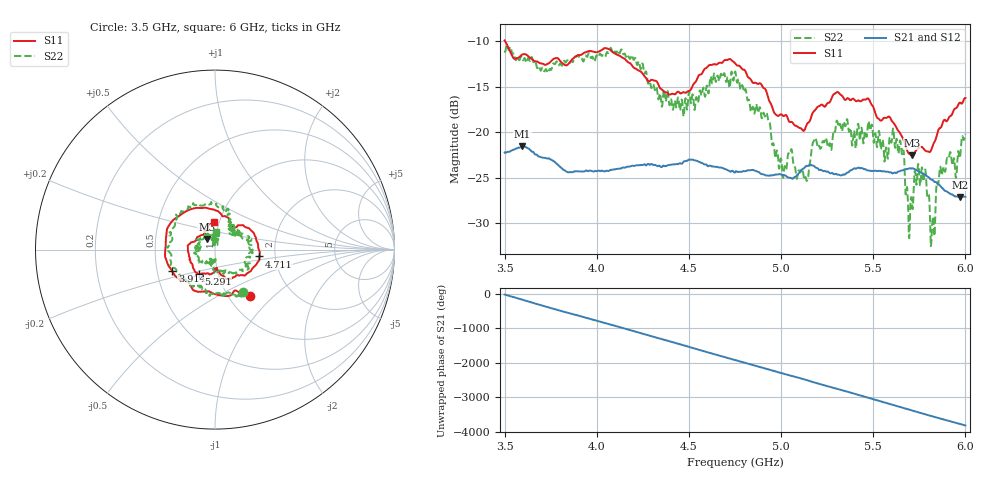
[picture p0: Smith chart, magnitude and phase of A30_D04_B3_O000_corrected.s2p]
! Created with skrf 1.9.0 (http://scikit-rf.org).
# Hz S RI R 50.0
!freq ReS11 ImS11 ReS21 ImS21 ReS12 ImS12 ReS22 ImS22
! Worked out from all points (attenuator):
!   1601 points, 3.5 GHz to 6 GHz, reference 50 ohm
!   highest |S21| = -21.57 dB at 3.595 GHz (marker M1); lowest = -27.1 dB at 5.973 GHz (marker M2)
!   lowest |S11| = -22.6 dB at 5.711 GHz (marker M3), VSWR 1.16, Z = 45.3 + j5.35 ohm
!   |S11| at or under -10 dB: 3.504 GHz to end of sweep
!   |S22| runs from -32.6 to -10.3 dB; largest |S21 - S12| = 0.00094
!   S11 on the Smith chart (normalised r, x): 3.5 GHz: 1.25, -0.71; 3.914 GHz: 0.60, -0.16; 4.711 GHz: 1.65, -0.13; 5.291 GHz: 0.80, -0.22; 6 GHz: 0.95, +0.30
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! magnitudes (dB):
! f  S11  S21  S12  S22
! 3.5 GHz  -9.9  -22.2  -22.2  -11.0
! 3.595 GHz  -11.4  -21.6  -21.6  -11.9
! 3.914 GHz  -11.5  -24.3  -24.3  -11.8
! 3.917 GHz  -11.4  -24.3  -24.3  -11.8
! 4.141 GHz  -11.8  -23.9  -23.9  -11.3
! 4.334 GHz  -14.8  -23.7  -23.6  -16.4
! 4.711 GHz  -12.0  -24.2  -24.1  -13.9
! 4.75 GHz  -12.4  -24.4  -24.3  -13.3
! 4.928 GHz  -16.1  -24.8  -24.7  -18.5
! 5.016 GHz  -18.2  -24.7  -24.6  -24.3
! 5.136 GHz  -19.3  -23.7  -23.6  -25.2
! 5.167 GHz  -18.1  -23.7  -23.6  -21.7
! 5.291 GHz  -15.7  -24.6  -24.6  -20.0
! 5.584 GHz  -18.3  -24.4  -24.3  -21.6
! 5.655 GHz  -20.4  -24.2  -24.1  -22.4
! 5.688 GHz  -22.2  -24.1  -24.0  -27.2
! 5.711 GHz  -22.6  -24.0  -23.9  -28.1
! 5.773 GHz  -21.8  -24.6  -24.5  -25.4
! 5.822 GHz  -21.5  -25.3  -25.2  -29.6
! 5.856 GHz  -19.6  -25.8  -25.7  -25.1
! 5.973 GHz  -16.8  -27.1  -27.0  -22.3
! 6 GHz  -16.2  -27.1  -27.0  -20.2
